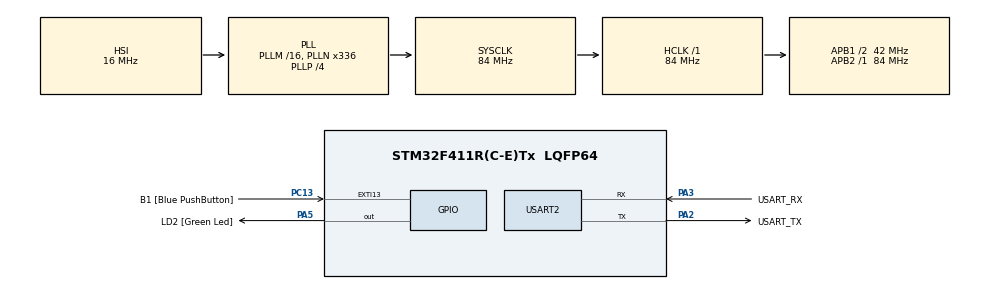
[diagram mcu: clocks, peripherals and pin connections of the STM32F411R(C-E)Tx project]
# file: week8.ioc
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Mcu.Family=STM32F4
PC15-OSC32_OUT.Mode=LSE-External-Oscillator
RCC.CortexFreq_Value=84000000
PC13-ANTI_TAMP.GPIO_Label=B1 [Blue PushButton]
PA14.GPIO_Label=TCK
PH1\ -\ OSC_OUT.Mode=HSE-External-Clock-Source
RCC.APB1CLKDivider=RCC_HCLK_DIV2
PC14-OSC32_IN.Signal=RCC_OSC32_IN
NVIC.USART2_IRQn=true\:0\:0\:false\:false\:true\:true\:true
RCC.SYSCLKSource=RCC_SYSCLKSOURCE_PLLCLK
ProjectManager.StackSize=0x400
PA13.Signal=SYS_JTMS-SWDIO
PA3.Mode=Asynchronous
PH0\ -\ OSC_IN.Mode=HSE-External-Clock-Source
PH0\ -\ OSC_IN.Signal=RCC_OSC_IN
ProjectManager.TargetToolchain=STM32CubeIDE
RCC.HCLKFreq_Value=84000000
RCC.APB2TimFreq_Value=84000000
PC15-OSC32_OUT.Signal=RCC_OSC32_OUT
RCC.AHBFreq_Value=84000000
PA5.Signal=GPIO_Output
RCC.HSE_VALUE=8000000
PH1\ -\ OSC_OUT.Signal=RCC_OSC_OUT
board=NUCLEO-F411RE
PC13-ANTI_TAMP.Signal=GPXTI13
RCC.VCOOutputFreq_Value=336000000
RCC.APB2Freq_Value=84000000
PC14-OSC32_IN.Mode=LSE-External-Oscillator
PA14.Mode=Serial_Wire
PA13.Mode=Serial_Wire
Mcu.Name=STM32F411R(C-E)Tx
PA2.Signal=USART2_TX
PA13.GPIO_Label=TMS
RCC.FLatency-AdvancedSettings=FLASH_LATENCY_2
RCC.48MHZClocksFreq_Value=84000000
PB3.Signal=SYS_JTDO-SWO
RCC.SYSCLKFreq_VALUE=84000000
Mcu.Package=LQFP64
PA5.GPIO_Label=LD2 [Green Led]
USART2.VirtualMode=VM_ASYNC
PC13-ANTI_TAMP.GPIO_ModeDefaultEXTI=GPIO_MODE_IT_FALLING
PA2.GPIO_Label=USART_TX
PA14.Signal=SYS_JTCK-SWCLK
ProjectManager.HeapSize=0x200
RCC.HSI_VALUE=16000000
RCC.PLLP=RCC_PLLP_DIV4
NVIC.PriorityGroup=NVIC_PRIORITYGROUP_0
RCC.PLLN=336
RCC.APB1TimFreq_Value=84000000
PA2.Mode=Asynchronous
RCC.APB1Freq_Value=42000000
PA3.GPIO_Label=USART_RX
PA3.Signal=USART2_RX
PB3.GPIO_Label=SWO

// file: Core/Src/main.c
/* USER CODE BEGIN Header */
/**
 ******************************************************************************
 * @file           : main.c
 * @brief          : Main program body
 ******************************************************************************
 * @attention
 *
 * <h2><center>&copy; Copyright (c) 2021 STMicroelectronics.
 * All rights reserved.</center></h2>
 *
 * This software component is licensed by ST under BSD 3-Clause license,
 * the "License"; You may not use this file except in compliance with the
 * License. You may obtain a copy of the License at:
 *                        opensource.org/licenses/BSD-3-Clause
 *
 ******************************************************************************
 */
/* USER CODE END Header */
#include "main.h"

/* USER CODE BEGIN Includes */
#include <stdio.h>
#include <string.h>
/* USER CODE END Includes */

UART_HandleTypeDef huart2;

/* USER CODE BEGIN PV */
char TxDataBuffer[32] =
{ 0 };
char RxDataBuffer[32] =
{ 0 };
int state = 0;
int a=0;
int f=1;
float period;
float halfperiod;
GPIO_PinState Button[2];
uint64_t TimeStamp;
int count=1;
char temp1[]="MENU 0 : LED Control[0]\r\n";
char temp2[]="MENU 1 : button Status[1]\r\n";
char temp22[]="MENU0\r\n press a:Speed Up +1Hz\r\n press s:Speed Down -1Hz\r\n press d: On/off\r\n press x: back\r\n";
char temp21[]="MENU1\r\n press x: back\r\n press button to show status\r\n";
char temp215[]="Pressed\r\n";
char temp216[]="Unpressed\r\n";
char temp7[]="ERROR\r\n";
char temp[32]="";
/* USER CODE END PV */

void SystemClock_Config(void);
static void MX_GPIO_Init(void);
static void MX_USART2_UART_Init(void);
/* USER CODE BEGIN PFP */
void UARTRecieveAndResponsePolling();
int16_t UARTRecieveIT();
/* USER CODE END PFP */

int main(void)
{

  /* MCU Configuration--------------------------------------------------------*/

  /* Reset of all peripherals, Initializes the Flash interface and the Systick. */
  HAL_Init();

  /* Configure the system clock */
  SystemClock_Config();

  /* Initialize all configured peripherals */
  MX_GPIO_Init();
  MX_USART2_UART_Init();
  /* USER CODE BEGIN 2 */
  {
//  char temp[]="HELLO WORLD\r\n please type something to test UART\r\n";
//  HAL_UART_Transmit(&huart2, (uint8_t*)temp, strlen(temp),10);
  }
  /* USER CODE END 2 */

  /* Infinite loop */
  /* USER CODE BEGIN WHILE */
	while (1)
	{
		/*Method 1 Polling Mode*/

//		UARTRecieveAndResponsePolling();

		/*Method 2 Interrupt Mode*/
		HAL_UART_Receive_IT(&huart2,  (uint8_t*)RxDataBuffer, 32);

		/*Method 2 W/ 1 Char Received*/
		int16_t inputchar = UARTRecieveIT();
		if(inputchar!=-1)
		{

			sprintf(TxDataBuffer, "ReceivedChar:[%c]\r\n", inputchar);
			HAL_UART_Transmit(&huart2, (uint8_t*)TxDataBuffer, strlen(TxDataBuffer), 1000);
		}
		Button[0] = HAL_GPIO_ReadPin(GPIOC, GPIO_PIN_13);

				switch(state)
				{
					case 0:
					{
						HAL_UART_Transmit(&huart2, (uint8_t*)temp1, strlen(temp1),10);
						HAL_UART_Transmit(&huart2, (uint8_t*)temp2, strlen(temp2),10);
						state = 1;
						break;
					}
					case 1:
						if(inputchar == '0')
						{
							state = 2;
						}
						else if(inputchar == '1')
						{
							state = 3;
						}
						else if(inputchar > 0)
						{
							HAL_UART_Transmit(&huart2, (uint8_t*)temp7, strlen(temp7),10);
							state = 1;
						}
//						else
//						{
//							state = 1;
//						}
						break;
					case 2:
					{
						HAL_UART_Transmit(&huart2, (uint8_t*)temp22, strlen(temp22),10);
						state = 4;
						break;
					}
					case 3:
					{

						HAL_UART_Transmit(&huart2, (uint8_t*)temp21, strlen(temp21),10);
						state = 5;
						break;
					}
					case 4:
					{
						if(inputchar == 'a')
						{
							f =f+1;
							sprintf(temp,"Frequency: %d Hz\r\n",f);
							HAL_UART_Transmit(&huart2, (uint8_t*)temp, strlen(temp), 10);
							period = 1.0/f;
							halfperiod = period*500;
						}
						else if(inputchar == 's')
						{
							f =f-1;
							period = 1.0/f;
							halfperiod = period*500;
							if(f< 0 )
							{
								f=0;
							}
							sprintf(temp,"Frequency: %d Hz\r\n",f);
							HAL_UART_Transmit(&huart2, (uint8_t*)temp, strlen(temp), 10);

						}
						else if(inputchar == 'd')
						{
							count+=1;
							if(count %2==1)
							{
								HAL_GPIO_WritePin(GPIOA, GPIO_PIN_5, 0);
								a=0;
							}

						}
						else if(inputchar == 'x')
						{
							state = 0;
						}
						else if(inputchar > 0)
						{
							HAL_UART_Transmit(&huart2, (uint8_t*)temp7, strlen(temp7),10);
							state = 4;
						}
						break;
					}
					case 5:
					{
						if(inputchar == 'x')
						{
							state = 0;
						}
						else if(Button[1] == 1 && Button[0] == 0)
						{
							HAL_UART_Transmit(&huart2, (uint8_t*)temp215, strlen(temp215),10);
						}
						else if(Button[1] == 0 && Button[0] == 1)
						{
							HAL_UART_Transmit(&huart2, (uint8_t*)temp216, strlen(temp216),10);
						}
						else if(inputchar > 0)
						{
							HAL_UART_Transmit(&huart2, (uint8_t*)temp7, strlen(temp7),10);
							state = 5;
						}
						Button[1] = Button[0];
					}

				}
				if(count%2==0)
				{
					if(f==0)
					{
						HAL_GPIO_WritePin(GPIOA, GPIO_PIN_5, 1);
					}
					if(f>0)
					{
						if(HAL_GetTick()-TimeStamp >= halfperiod )
						{
							TimeStamp = HAL_GetTick();
							HAL_GPIO_TogglePin(GPIOA, GPIO_PIN_5);
						}
					}
				}

				}

		/*This section just simmulate Work Load*/
//		HAL_Delay(100);
//		HAL_GPIO_TogglePin(LD2_GPIO_Port, LD2_Pin);
    /* USER CODE END WHILE */

	}

void SystemClock_Config(void)
{
  RCC_OscInitTypeDef RCC_OscInitStruct = {0};
  RCC_ClkInitTypeDef RCC_ClkInitStruct = {0};

  /** Configure the main internal regulator output voltage
  */
  __HAL_RCC_PWR_CLK_ENABLE();
  __HAL_PWR_VOLTAGESCALING_CONFIG(PWR_REGULATOR_VOLTAGE_SCALE1);
  /** Initializes the RCC Oscillators according to the specified parameters
  * in the RCC_OscInitTypeDef structure.
  */
  RCC_OscInitStruct.OscillatorType = RCC_OSCILLATORTYPE_HSI;
  RCC_OscInitStruct.HSIState = RCC_HSI_ON;
  RCC_OscInitStruct.HSICalibrationValue = RCC_HSICALIBRATION_DEFAULT;
  RCC_OscInitStruct.PLL.PLLState = RCC_PLL_ON;
  RCC_OscInitStruct.PLL.PLLSource = RCC_PLLSOURCE_HSI;
  RCC_OscInitStruct.PLL.PLLM = 16;
  RCC_OscInitStruct.PLL.PLLN = 336;
  RCC_OscInitStruct.PLL.PLLP = RCC_PLLP_DIV4;
  RCC_OscInitStruct.PLL.PLLQ = 4;
  if (HAL_RCC_OscConfig(&RCC_OscInitStruct) != HAL_OK)
  {
    Error_Handler();
  }
  /** Initializes the CPU, AHB and APB buses clocks
  */
  RCC_ClkInitStruct.ClockType = RCC_CLOCKTYPE_HCLK|RCC_CLOCKTYPE_SYSCLK
                              |RCC_CLOCKTYPE_PCLK1|RCC_CLOCKTYPE_PCLK2;
  RCC_ClkInitStruct.SYSCLKSource = RCC_SYSCLKSOURCE_PLLCLK;
  RCC_ClkInitStruct.AHBCLKDivider = RCC_SYSCLK_DIV1;
  RCC_ClkInitStruct.APB1CLKDivider = RCC_HCLK_DIV2;
  RCC_ClkInitStruct.APB2CLKDivider = RCC_HCLK_DIV1;

  if (HAL_RCC_ClockConfig(&RCC_ClkInitStruct, FLASH_LATENCY_2) != HAL_OK)
  {
    Error_Handler();
  }
}

static void MX_USART2_UART_Init(void)
{

  huart2.Instance = USART2;
  huart2.Init.BaudRate = 115200;
  huart2.Init.WordLength = UART_WORDLENGTH_8B;
  huart2.Init.StopBits = UART_STOPBITS_1;
  huart2.Init.Parity = UART_PARITY_NONE;
  huart2.Init.Mode = UART_MODE_TX_RX;
  huart2.Init.HwFlowCtl = UART_HWCONTROL_NONE;
  huart2.Init.OverSampling = UART_OVERSAMPLING_16;
  if (HAL_UART_Init(&huart2) != HAL_OK)
  {
    Error_Handler();
  }

}

static void MX_GPIO_Init(void)
{
  GPIO_InitTypeDef GPIO_InitStruct = {0};

  /* GPIO Ports Clock Enable */
  __HAL_RCC_GPIOC_CLK_ENABLE();
  __HAL_RCC_GPIOH_CLK_ENABLE();
  __HAL_RCC_GPIOA_CLK_ENABLE();
  __HAL_RCC_GPIOB_CLK_ENABLE();

  /*Configure GPIO pin Output Level */
  HAL_GPIO_WritePin(LD2_GPIO_Port, LD2_Pin, GPIO_PIN_RESET);

  /*Configure GPIO pin : B1_Pin */
  GPIO_InitStruct.Pin = B1_Pin;
  GPIO_InitStruct.Mode = GPIO_MODE_IT_FALLING;
  GPIO_InitStruct.Pull = GPIO_NOPULL;
  HAL_GPIO_Init(B1_GPIO_Port, &GPIO_InitStruct);

  /*Configure GPIO pin : LD2_Pin */
  GPIO_InitStruct.Pin = LD2_Pin;
  GPIO_InitStruct.Mode = GPIO_MODE_OUTPUT_PP;
  GPIO_InitStruct.Pull = GPIO_NOPULL;
  GPIO_InitStruct.Speed = GPIO_SPEED_FREQ_LOW;
  HAL_GPIO_Init(LD2_GPIO_Port, &GPIO_InitStruct);

}

/* USER CODE BEGIN 4 */
void UARTRecieveAndResponsePolling()
{
	char Recieve[32]={0};

	HAL_UART_Receive(&huart2, (uint8_t*)Recieve, 32, 1000);

	sprintf(TxDataBuffer, "Received:[%s]\r\n", Recieve);
	HAL_UART_Transmit(&huart2, (uint8_t*)TxDataBuffer, strlen(TxDataBuffer), 1000);

}

int16_t UARTRecieveIT()
{
	static uint32_t dataPos =0;
	int16_t data=-1;
	if(huart2.RxXferSize - huart2.RxXferCount!=dataPos)
	{
		data=RxDataBuffer[dataPos];
		dataPos= (dataPos+1)%huart2.RxXferSize;
	}
	return data;
}

void HAL_UART_RxCpltCallback(UART_HandleTypeDef *huart)
{
	sprintf(TxDataBuffer, "Received:[%s]\r\n", RxDataBuffer);
	HAL_UART_Transmit(&huart2, (uint8_t*)TxDataBuffer, strlen(TxDataBuffer), 1000);
}
/* USER CODE END 4 */

void Error_Handler(void)
{
	__disable_irq();
	while (1)
	{
	}
}

/************************ (C) COPYRIGHT STMicroelectronics *****END OF FILE****/
